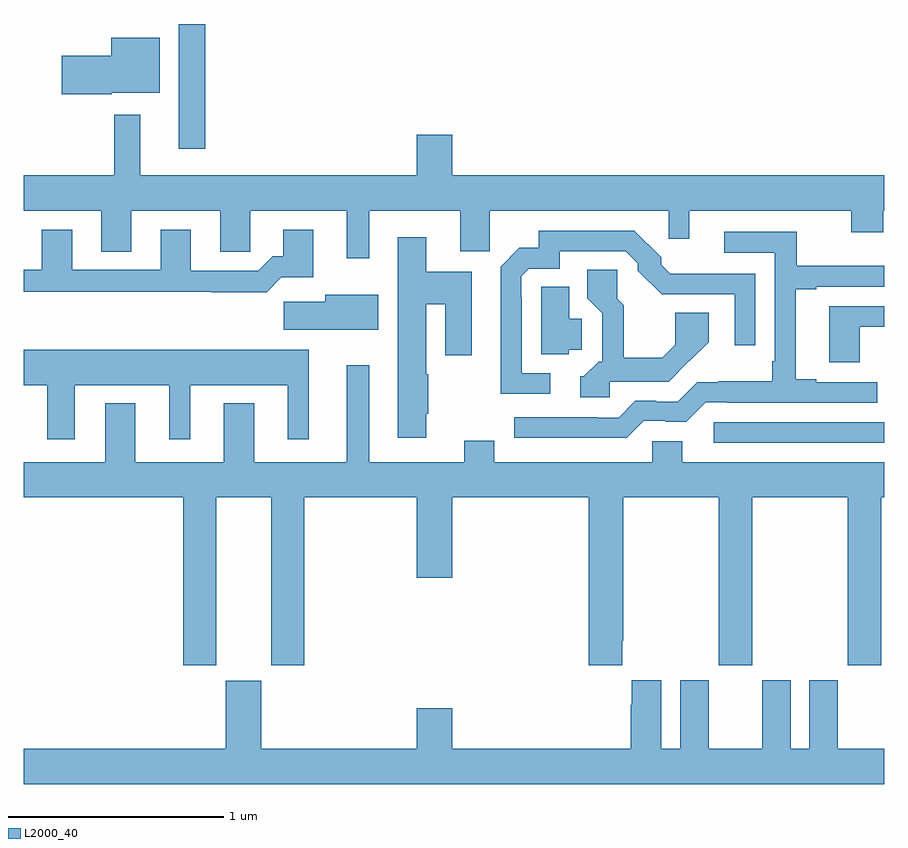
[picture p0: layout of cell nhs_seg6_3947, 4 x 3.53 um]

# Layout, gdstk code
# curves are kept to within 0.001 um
import gdstk
lib = gdstk.Library(unit=1e-6, precision=1e-09)
def R(c, l, rs):  # rectangles x0, y0, x1, y1
    for r in rs: c.add(gdstk.rectangle(r[:2], r[2:], *l))
def P(c, l, *ps):  # polygons
    for p in ps: c.add(gdstk.Polygon(p, *l))
L2000_40 = (2000, 40)

nhs_seg6_3947 = lib.new_cell('nhs_seg6_3947')
R(nhs_seg6_3947, L2000_40, [(346.206,983.553,347,983.649), (343.721,984.921,343.843,985.5)])
P(nhs_seg6_3947, L2000_40, [(343.41,985.181),(343.633,985.181),(343.633,985.435),(343.406,985.435),(343.406,985.352),(343.176,985.352),(343.176,985.174),(343.41,985.174)],
  [(344.605,984.632),(345.029,984.632),(345.029,984.444),(345.167,984.444),(345.167,984.632),(345.997,984.632),(345.997,984.503),(346.093,984.503),(346.093,984.632),(346.847,984.632),(346.847,984.533),(346.995,984.533),(346.995,984.632),(347,984.632),(347,984.796),(344.992,984.796),(344.992,984.985),(344.828,984.985),(344.828,984.796),(343.543,984.796),(343.543,985.078),(343.422,985.078),(343.422,984.796),(343,984.796),(343,984.632),(343.361,984.632),(343.361,984.442),(343.501,984.442),(343.501,984.632),(343.913,984.632),(343.913,984.442),(344.052,984.442),(344.052,984.632),(344.501,984.632),(344.501,984.411),(344.605,984.411)],
  [(344.198,984.323),(344.347,984.323),(344.347,984.544),(344.207,984.544),(344.207,984.421),(344.158,984.421),(344.091,984.354),(343.777,984.354),(343.777,984.544),(343.637,984.544),(343.637,984.357),(343.225,984.357),(343.225,984.544),(343.085,984.544),(343.085,984.357),(343,984.357),(343,984.256),(343.873,984.256),(343.873,984.254),(344.129,984.254)],
  [(345.448,983.877),(345.315,983.877),(345.315,984.227),(345.312,984.227),(345.312,984.327),(345.348,984.363),(345.492,984.363),(345.492,984.444),(345.798,984.444),(345.855,984.387),(345.855,984.353),(345.965,984.243),(346.305,984.243),(346.305,984.006),(346.401,984.006),(346.401,984.339),(346.004,984.34),(345.964,984.381),(345.964,984.415),(345.838,984.54),(345.394,984.54),(345.394,984.46),(345.304,984.46),(345.218,984.373),(345.218,983.781),(345.448,983.781)],
  [(345.882,983.655),(345.983,983.655),(345.983,983.652),(346.08,983.652),(346.17,983.742),(346.27,983.742),(346.27,983.739),(346.966,983.739),(346.966,983.835),(346.684,983.835),(346.684,983.848),(346.588,983.848),(346.588,984.267),(346.684,984.267),(346.684,984.279),(347,984.279),(347,984.376),(346.592,984.376),(346.592,984.534),(346.257,984.534),(346.257,984.438),(346.491,984.438),(346.491,983.932),(346.479,983.932),(346.479,983.839),(346.228,983.839),(346.228,983.835),(346.131,983.835),(346.041,983.745),(345.941,983.745),(345.941,983.748),(345.843,983.748),(345.765,983.67),(345.665,983.67),(345.665,983.673),(345.279,983.673),(345.279,983.577),(345.803,983.576)],
  [(344.872,983.689),(344.88,983.689),(344.88,983.873),(344.872,983.873),(344.872,984.197),(344.96,984.197),(344.96,983.961),(345.082,983.961),(345.082,984.349),(344.872,984.349),(344.872,984.508),(344.738,984.508),(344.738,983.577),(344.872,983.577)],
  [(345.723,983.838),(345.997,983.838),(346.183,984.022),(346.183,984.158),(346.029,984.158),(346.029,984.01),(345.967,983.949),(345.788,983.949),(345.788,984.194),(345.759,984.223),(345.759,984.358),(345.62,984.358),(345.62,984.226),(345.69,984.156),(345.69,983.931),(345.672,983.931),(345.603,983.862),(345.587,983.862),(345.587,983.766),(345.723,983.766)],
  [(345.534,983.985),(345.594,983.985),(345.594,984.131),(345.535,984.131),(345.535,984.278),(345.405,984.278),(345.405,983.966),(345.534,983.966)],
  [(344.647,984.241),(344.402,984.241),(344.402,984.209),(344.208,984.209),(344.208,984.08),(344.647,984.08)],
  [(346.885,984.093),(347,984.093),(347,984.189),(346.745,984.189),(346.745,983.928),(346.885,983.928)],
  [(343.237,983.822),(343.676,983.822),(343.676,983.571),(343.774,983.571),(343.774,983.822),(344.228,983.822),(344.228,983.571),(344.326,983.571),(344.326,983.986),(343,983.986),(343,983.822),(343.109,983.822),(343.109,983.571),(343.237,983.571)],
  [(343.894,983.3),(344.15,983.3),(344.15,982.521),(344.303,982.521),(344.303,983.3),(344.828,983.3),(344.828,982.926),(344.992,982.926),(344.992,983.3),(345.626,983.3),(345.626,982.521),(345.781,982.521),(345.781,982.633),(345.786,982.633),(345.786,983.3),(346.231,983.3),(346.231,982.521),(346.386,982.521),(346.386,983.3),(346.831,983.3),(346.831,982.521),(346.986,982.521),(346.986,983.3),(347,983.3),(347,983.464),(346.06,983.464),(346.06,983.562),(345.921,983.562),(345.921,983.464),(345.187,983.464),(345.187,983.563),(345.047,983.563),(345.047,983.464),(344.605,983.464),(344.605,983.914),(344.501,983.914),(344.501,983.464),(344.071,983.464),(344.071,983.737),(343.931,983.737),(343.931,983.464),(343.519,983.464),(343.519,983.737),(343.379,983.737),(343.379,983.464),(343,983.464),(343,983.3),(343.742,983.3),(343.742,982.521),(343.894,982.521)],
  [(347,982.132),(346.783,982.132),(346.783,982.45),(346.652,982.45),(346.652,982.132),(346.564,982.132),(346.564,982.45),(346.433,982.45),(346.433,982.132),(346.183,982.132),(346.183,982.45),(346.052,982.45),(346.052,982.132),(345.964,982.132),(345.964,982.45),(345.827,982.45),(345.827,982.337),(345.821,982.337),(345.821,982.132),(344.992,982.132),(344.992,982.321),(344.828,982.321),(344.828,982.132),(344.104,982.132),(344.104,982.449),(343.94,982.449),(343.94,982.132),(343,982.132),(343,981.968),(347,981.968)])

lib.write_gds('nhs_seg6_3947.gds')
